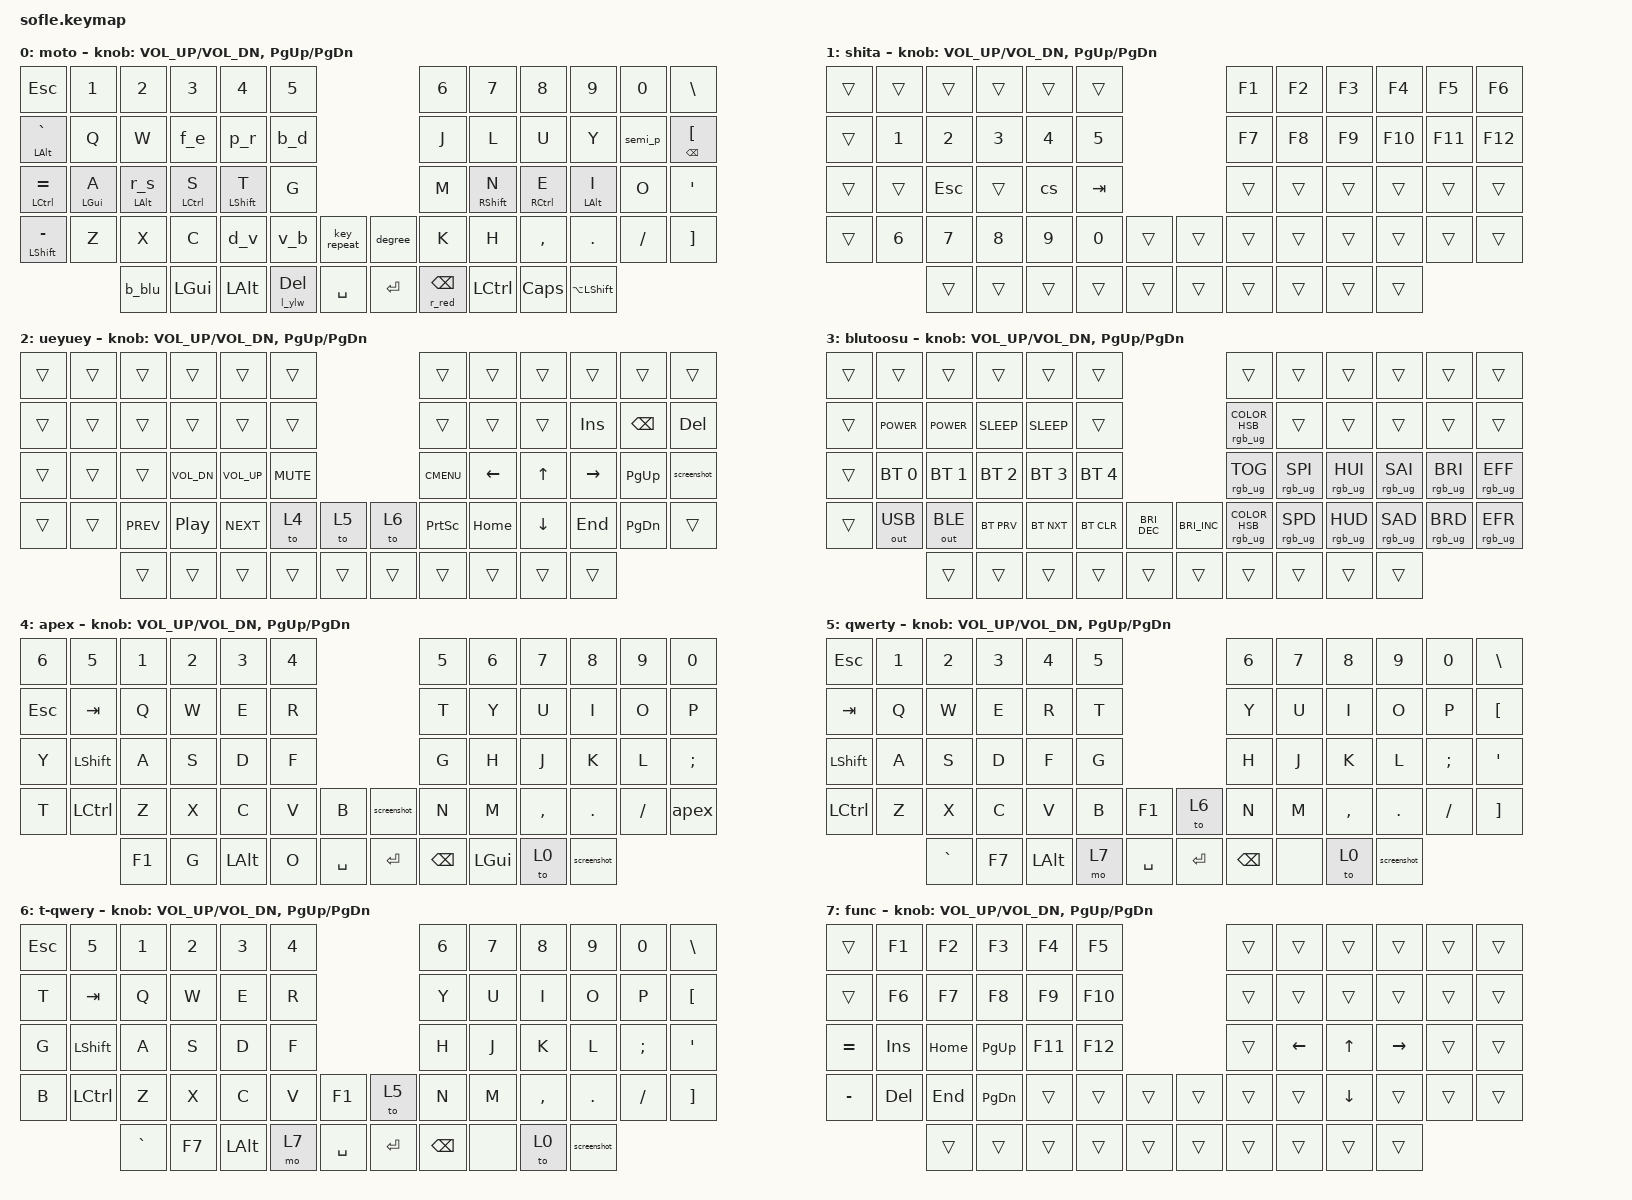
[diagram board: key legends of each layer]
/*
 * Copyright (c) 2020 The ZMK Contributors
 *
 * SPDX-License-Identifier: MIT
 */

#include <behaviors.dtsi>
#include <dt-bindings/zmk/keys.h>
#include <dt-bindings/zmk/bt.h>
#include <dt-bindings/zmk/ext_power.h>

// required for enabling led control
#include <dt-bindings/led/led.h>

// required for rgb configuration
#include <dt-bindings/zmk/rgb.h>
#include <dt-bindings/zmk/outputs.h>

// #define DEFAULT 0
// #define LOWER   1
// #define RAISE   2

&pinctrl {
    spi3_default: spi3_default {
        group1 {
            psels = <NRF_PSEL(SPIM_MOSI, 0, 8)>;
        };
    };

    spi3_sleep: spi3_sleep {
        group1 {
            psels = <NRF_PSEL(SPIM_MOSI, 0, 8)>;
            low-power-enable;
        };
    };
};

&spi3 {
    compatible = "nordic,nrf-spim";
    status = "okay";

    pinctrl-0 = <&spi3_default>;
    pinctrl-1 = <&spi3_sleep>;
    pinctrl-names = "default", "sleep";

    led_strip: ws2812@0 {
        compatible = "worldsemi,ws2812-spi";
        label = "WS2812";

        /* SPI */
        reg = <0>; /* ignored, but necessary for SPI bindings */
        spi-max-frequency = <4000000>;

        /* WS2812 */
        chain-length = <30>;
        spi-one-frame = <0x70>;
        spi-zero-frame = <0x40>;

        color-mapping = <LED_COLOR_ID_GREEN
                            LED_COLOR_ID_RED
                            LED_COLOR_ID_BLUE>;
    };
};

/ {
    chosen {
        zmk,underglow = &led_strip;
    };
};

/ {
    combos {
        compatible = "zmk,combos";
    };

    behaviors {
        // del/backspace functionality for layer keys

        red_lyr: raise_red_layer {
            compatible = "zmk,behavior-hold-tap";
            label = "RAISE_RED_LAYER";
            bindings =
                <&r_red>,
                <&kp>;
            #binding-cells = <2>;
            tapping-term-ms = <150>;
            quick-tap-ms = <0>;
            flavor = "hold-preferred";
        };
        ylw_lyr: lower_yellow_layer {
            compatible = "zmk,behavior-hold-tap";
            label = "LOWER_YELLOW_LAYER";
            bindings =
                <&l_ylw>,
                <&kp>;
            #binding-cells = <2>;
            tapping-term-ms = <150>;
            quick-tap-ms = <0>;
            flavor = "hold-preferred";
        };

        // caps shift toggle on dt
        cs: caps_shift {
            compatible = "zmk,behavior-tap-dance";
            label = "CAPS_SHIFT";
            #binding-cells = <0>;
            tapping-term-ms = <200>;
            bindings =
                <&kp LSHFT>,
                <&kp CAPS>;
        };

        // different homerow mods durations for index vs secondary fingers (pinkies/ringlol)
        hms: homerow_mods_short {
            compatible = "zmk,behavior-hold-tap";
            label = "HOMEROW_MODS_SHORT";
            #binding-cells = <2>;
            tapping-term-ms = <150>;
            quick-tap-ms = <0>;
            flavor = "tap-preferred";
            bindings =
                <&kp>,
                <&kp>;
        };
        hml: homerow_mods_long {
            compatible = "zmk,behavior-hold-tap";
            label = "HOMEROW_MODS_LONG";
            #binding-cells = <2>;
            tapping-term-ms = <210>;
            quick-tap-ms = <0>;
            flavor = "tap-preferred";
            bindings =
                <&kp>,
                <&kp>;
        };

        // windows explorer shortcut        
        f_e: f_e {
            compatible = "zmk,behavior-mod-morph";
            label = "F_E";
            #binding-cells = <0>;
            bindings =
                <&kp F>,
                <&kp E>;
            mods = <(MOD_LGUI)>;
            keep-mods = <(MOD_LGUI)>;
        };

        // swap t and g on lctrl
        t_g: t_g {
            compatible = "zmk,behavior-mod-morph";
            label = "T_G";
            #binding-cells = <0>;
            bindings =
                <&kp T>,
                <&kp G>;
            mods = <(MOD_LCTL)>;
            keep-mods = <(MOD_LCTL)>;
        };
        g_t: g_t {
            compatible = "zmk,behavior-mod-morph";
            label = "G_T";
            #binding-cells = <0>;
            bindings =
                <&kp G>,
                <&kp T>;
            mods = <(MOD_LCTL)>;
            keep-mods = <(MOD_LCTL)>;
        };

        // r to s, p to r, on lctrl
        r_s: r_s {
            compatible = "zmk,behavior-mod-morph";
            label = "R_S";
            #binding-cells = <0>;
            bindings =
                <&kp R>,
                <&kp S>;
            mods = <(MOD_LCTL)>;
            keep-mods = <(MOD_LCTL)>;
        };
        p_r: p_r {
            compatible = "zmk,behavior-mod-morph";
            label = "P_R";
            #binding-cells = <0>;
            bindings =
                <&kp P>,
                <&kp R>;
            mods = <(MOD_LCTL)>;
            keep-mods = <(MOD_LCTL)>;
        };

        //dvb retrigger
        d_v: d_v {
            compatible = "zmk,behavior-mod-morph";
            label = "D_V";
            #binding-cells = <0>;
            bindings =
                <&kp D>,
                <&kp V>;
            mods = <(MOD_LCTL)>;
            keep-mods = <(MOD_LCTL)>;
        };
        v_b: v_b {
            compatible = "zmk,behavior-mod-morph";
            label = "V_B";
            #binding-cells = <0>;
            bindings =
                <&kp V>,
                <&kp B>;
            mods = <(MOD_LCTL)>;
            keep-mods = <(MOD_LCTL)>;
        };
        b_d: b_d {
            compatible = "zmk,behavior-mod-morph";
            label = "B_D";
            #binding-cells = <0>;
            bindings =
                <&kp B>,
                <&kp D>;
            mods = <(MOD_LCTL)>;
            keep-mods = <(MOD_LCTL)>;
        };

        // semi to p on rctrl
        semi_p: semi_p {
            compatible = "zmk,behavior-mod-morph";
            label = "SEMI_P";
            #binding-cells = <0>;
            bindings =
                <&kp SEMI>,
                <&kp P>;
            mods = <(MOD_RCTL)>;
            keep-mods = <(MOD_RCTL)>;
        };

        // nested mod morph on homerow mod
        hm_c_tg: homerow_mods_lctrl_tg {
            compatible = "zmk,behavior-hold-tap";
            label = "HOMEROW_MOD_MORPH_LCTRL_TG";
            #binding-cells = <2>;
            tapping-term-ms = <150>;
            quick-tap-ms = <0>;
            flavor = "tap-preferred";
            bindings =
                <&kp>,
                <&t_g>;
        };
        hm_c_rs: homerow_mods_lctrl_rs {
            compatible = "zmk,behavior-hold-tap";
            label = "HOMEROW_MOD_MORPH_LCTRL_RS";
            #binding-cells = <2>;
            tapping-term-ms = <210>;
            quick-tap-ms = <0>;
            flavor = "tap-preferred";
            bindings =
                <&kp>,
                <&r_s>;
        };

    };

    macros {
        // windows only
        screenshot: screenshot {
            label = "SCREENSHOT";
            compatible = "zmk,behavior-macro";
            #binding-cells = <0>;
            bindings
                = <&macro_press &kp LSHFT &kp LGUI>
                , <&macro_tap &kp S>
                , <&macro_release &kp LSHFT &kp LGUI>
                ;
        };

        //lol
        apex: oi_apex {
            label = "OI_APEX";
            compatible = "zmk,behavior-macro";
            #binding-cells = <0>;
            bindings
                = <&macro_press &kp LSHFT>
                , <&macro_tap &kp O &kp I &kp SPACE &kp A  &kp P  &kp E  &kp X  &kp SPACE>
                , <&macro_release &kp LSHFT>
                ;
        };

        // degree symbol
        degree: degree {
            compatible = "zmk,behavior-macro";
            label = "DEGREE";
            #binding-cells = <0>;
            wait-ms = <0>;
            tap-ms = <0>;
            bindings
                = <&macro_press   &kp LALT>
                , <&macro_tap     &kp KP_N0 &kp KP_N1 &kp KP_N7 &kp KP_N6>
                , <&macro_release &kp LALT>
                ;
        };
        

        // rgb colour layers
        //   0° red
        // 120° green
        // 240° blue
        r_red: raise_red {
            compatible = "zmk,behavior-macro";
            label = "RAISE_RED";
            #binding-cells = <0>;
            wait-ms = <0>;
            tap-ms = <0>;
            bindings
                = <&macro_press &mo 2>
                , <&macro_tap &rgb_ug RGB_COLOR_HSB(0,100,30)>
                , <&macro_pause_for_release>
                , <&macro_release &mo 2>
                , <&macro_tap &rgb_ug RGB_COLOR_HSB(195,100,30)>;
        };
        
        l_ylw: lower_yellow {
            compatible = "zmk,behavior-macro";
            label = "LOWER_YELLOW";
            #binding-cells = <0>;
            wait-ms = <0>;
            tap-ms = <0>;
            bindings
                = <&macro_press &mo 1>
                , <&macro_tap &rgb_ug RGB_COLOR_HSB(60,100,30)>
                , <&macro_pause_for_release>
                , <&macro_release &mo 1>
                , <&macro_tap &rgb_ug RGB_COLOR_HSB(195,100,30)>;
        };

        b_blu: bluetooth_blue {
            compatible = "zmk,behavior-macro";
            label = "BLUETOOTH_BLUE";
            #binding-cells = <0>;
            wait-ms = <0>;
            tap-ms = <0>;
            bindings
                = <&macro_press &mo 3>
                , <&macro_tap &rgb_ug RGB_COLOR_HSB(240,100,30)>
                , <&macro_pause_for_release>
                , <&macro_release &mo 3>
                , <&macro_tap &rgb_ug RGB_COLOR_HSB(195,100,30)>;
        };
    };

    keymap {
        compatible = "zmk,keymap";

        default_layer {
            
            //default layer

            label = "moto";
            bindings = <
&kp  ESC          &kp N1        &kp N2           &kp N3         &kp N4            &kp N5                                    &kp N6           &kp N7          &kp N8          &kp N9          &kp N0      &kp BSLH
&hml LALT GRAVE   &kp Q         &kp W            &f_e           &p_r              &b_d                                      &kp J            &kp L           &kp U           &kp Y           &semi_p     &hms BSPC LBKT
&hml LCTRL EQUAL  &hml LGUI A   &hm_c_rs LALT 0  &hms LCTRL S   &hms LSHFT T      &kp G                                     &kp M            &hms RSHFT N    &hms RCTRL E    &hml LALT I     &kp O       &kp SQT
&hml LSHFT MINUS  &kp Z         &kp X            &kp C          &d_v              &v_b             &key_repeat  &degree     &kp K            &kp H           &kp COMMA       &kp DOT         &kp FSLH    &kp RBKT
                                &b_blu           &kp LGUI       &kp LALT          &ylw_lyr 0 DEL   &kp SPACE    &kp RET     &red_lyr 0 BSPC  &kp LCTRL       &kp CLCK        &kp LA(LSHFT)   
                                                                                                                                                                         /* ime keyboard toggle */
  >;

            sensor-bindings = <&inc_dec_kp C_VOL_UP C_VOL_DN &inc_dec_kp PG_UP PG_DN>;
        };

        lower_layer {

            label = "shita";
            bindings = <
&trans  &trans    &trans    &trans      &trans    &trans                       &kp F1  &kp F2  &kp F3  &kp F4   &kp F5   &kp F6
&trans  &kp N1    &kp N2    &kp N3      &kp N4    &kp N5                       &kp F7  &kp F8  &kp F9  &kp F10  &kp F11  &kp F12
&trans  &trans    &kp ESC   &trans      &cs       &kp TAB                      &trans  &trans  &trans  &trans   &trans   &trans
&trans  &kp N6    &kp N7    &kp N8      &kp N9    &kp N0    &trans   &trans    &trans  &trans  &trans  &trans   &trans   &trans
                  &trans    &trans      &trans    &trans    &trans   &trans    &trans  &trans  &trans  &trans
            >;

            sensor-bindings = <&inc_dec_kp C_VOL_UP C_VOL_DN &inc_dec_kp PG_UP PG_DN>;
        };

        raise_layer {
            
            label = "ueyuey";
            bindings = <
&trans     &trans       &trans      &trans            &trans        &trans                       &trans       &trans    &trans    &trans     &trans     &trans
&trans     &trans       &trans      &trans            &trans        &trans                       &trans       &trans    &trans    &kp INS    &kp BSPC   &kp DEL
&trans     &trans       &trans      &kp C_VOL_DN      &kp C_VOL_UP  &kp C_MUTE                   &kp K_CMENU  &kp LEFT  &kp UP    &kp RIGHT  &kp PG_UP  &screenshot
&trans     &trans       &kp C_PREV  &kp C_PLAY_PAUSE  &kp C_NEXT    &to 4       &to 5    &to  6  &kp PSCRN    &kp HOME  &kp DOWN  &kp END    &kp PG_DN  &trans
                        &trans       &trans           &trans        &trans      &trans   &trans  &trans    &trans    &trans   &trans
            >;

            sensor-bindings = <&inc_dec_kp C_VOL_UP C_VOL_DN &inc_dec_kp PG_UP PG_DN>;
        };
        
        bt_layer {
            // bluetooth controls and other PC controls
            label = "blutoosu";
            bindings = <
&trans  &trans          &trans          &trans          &trans        &trans                                                        &trans                             &trans            &trans           &trans           &trans           &trans 
&trans  &kp C_POWER     &kp K_POWER     &kp C_SLEEP     &kp K_SLEEP   &trans                                                        &rgb_ug RGB_COLOR_HSB(0,100,10)      &trans            &trans           &trans           &trans           &trans
&trans  &bt BT_SEL 0    &bt BT_SEL 1    &bt BT_SEL 2    &bt BT_SEL 3  &bt BT_SEL 4                                                  &rgb_ug RGB_TOG                    &rgb_ug RGB_SPI   &rgb_ug RGB_HUI  &rgb_ug RGB_SAI  &rgb_ug RGB_BRI  &rgb_ug RGB_EFF
&trans  &out OUT_USB    &out OUT_BLE    &bt BT_PRV      &bt BT_NXT    &bt BT_CLR    &kp C_BRIGHTNESS_DEC    &kp C_BRIGHTNESS_INC    &rgb_ug RGB_COLOR_HSB(195,100,30)  &rgb_ug RGB_SPD   &rgb_ug RGB_HUD  &rgb_ug RGB_SAD  &rgb_ug RGB_BRD  &rgb_ug RGB_EFR
                        &trans          &trans          &trans        &trans        &trans                  &trans                  &trans                             &trans            &trans           &trans
            >;

            sensor-bindings = <&inc_dec_kp C_VOL_UP C_VOL_DN &inc_dec_kp PG_UP PG_DN>;
        };
        
        apex_layer {
            // WASD LAYER
            // layer: 4

            label = "apex";
            bindings = <
&kp N6      &kp N5      &kp N1  &kp N2    &kp N3     &kp N4                              &kp N5   &kp N6    &kp N7     &kp N8   &kp N9    &kp N0
&kp ESC     &kp TAB     &kp Q   &kp W     &kp E      &kp R                               &kp T    &kp Y     &kp U      &kp I    &kp O     &kp P 
&kp Y       &kp LSHIFT  &kp A   &kp S     &kp D      &kp F                               &kp G    &kp H     &kp J      &kp K    &kp L     &kp SEMI
&kp T       &kp LCTRL   &kp Z   &kp X     &kp C      &kp V  &kp B           &screenshot  &kp N    &kp M     &kp COMMA  &kp DOT  &kp FSLH  &apex
                        &kp F1  &kp G     &kp LALT   &kp O  &kp SPACE       &kp ENTER    &kp BSPC &kp LGUI  &to 0      &screenshot
            >;

            sensor-bindings = <&inc_dec_kp C_VOL_UP C_VOL_DN &inc_dec_kp PG_UP PG_DN>;
        };
        
        qwerty_game_layer_1 {
            // QWERTY LAYER
            // layer: 5

            label = "qwerty";
            bindings = <
&kp ESC     &kp N1  &kp N2  &kp N3  &kp N4      &kp N5                              &kp N6   &kp N7  &kp N8      &kp N9      &kp N0      &kp BSLH
&kp TAB     &kp Q   &kp W   &kp E   &kp R       &kp T                               &kp Y    &kp U   &kp I       &kp O       &kp P       &kp LBKT
&kp LSHIFT  &kp A   &kp S   &kp D   &kp F       &kp G                               &kp H    &kp J   &kp K       &kp L       &kp SEMI    &kp SQT
&kp LCTRL   &kp Z   &kp X   &kp C   &kp V       &kp B   &kp F1          &to 6       &kp N    &kp M   &kp COMMA   &kp DOT     &kp FSLH    &kp RBKT
                 &kp GRAVE  &kp F7  &kp LALT    &mo 7   &kp SPACE       &kp ENTER   &kp BSPC &none   &to 0       &screenshot
            >;

            sensor-bindings = <&inc_dec_kp C_VOL_UP C_VOL_DN &inc_dec_kp PG_UP PG_DN>;
        };

        qwerty_game_layer_1a {
            // QWERTY ALT LAYER
            // layer: 6

            label = "t-qwery";
            bindings = <
&kp ESC &kp N5      &kp N1      &kp N2  &kp N3      &kp N4                              &kp N6   &kp N7  &kp N8      &kp N9      &kp N0      &kp BSLH
&kp T   &kp TAB     &kp Q       &kp W   &kp E       &kp R                               &kp Y    &kp U   &kp I       &kp O       &kp P       &kp LBKT
&kp G   &kp LSHIFT  &kp A       &kp S   &kp D       &kp F                               &kp H    &kp J   &kp K       &kp L       &kp SEMI    &kp SQT
&kp B   &kp LCTRL   &kp Z       &kp X   &kp C       &kp V   &kp F1          &to 5       &kp N    &kp M   &kp COMMA   &kp DOT     &kp FSLH    &kp RBKT
                    &kp GRAVE   &kp F7  &kp LALT    &mo 7   &kp SPACE       &kp ENTER   &kp BSPC &none   &to 0       &screenshot
            >;

            sensor-bindings = <&inc_dec_kp C_VOL_UP C_VOL_DN &inc_dec_kp PG_UP PG_DN>;
        };

        qwerty_game_layer_2 {
            // QWERTY FUNCTIONS LAYER
            // layer: 7

            label = "func";
            bindings = <
&trans     &kp F1   &kp F2   &kp F3     &kp F4  &kp F5                  &trans  &trans    &trans    &trans     &trans     &trans
&trans     &kp F6   &kp F7   &kp F8     &kp F9  &kp F10                 &trans  &trans    &trans    &trans     &trans     &trans
&kp EQUAL  &kp INS  &kp HOME &kp PG_UP  &kp F11 &kp F12                 &trans  &kp LEFT  &kp UP    &kp RIGHT  &trans     &trans
&kp MINUS  &kp DEL  &kp END  &kp PG_DN  &trans  &trans  &trans  &trans  &trans  &trans    &kp DOWN  &trans     &trans     &trans
                    &trans   &trans     &trans  &trans  &trans  &trans  &trans  &trans    &trans    &trans
            >;

            sensor-bindings = <&inc_dec_kp C_VOL_UP C_VOL_DN &inc_dec_kp PG_UP PG_DN>;
        };
    };
};
